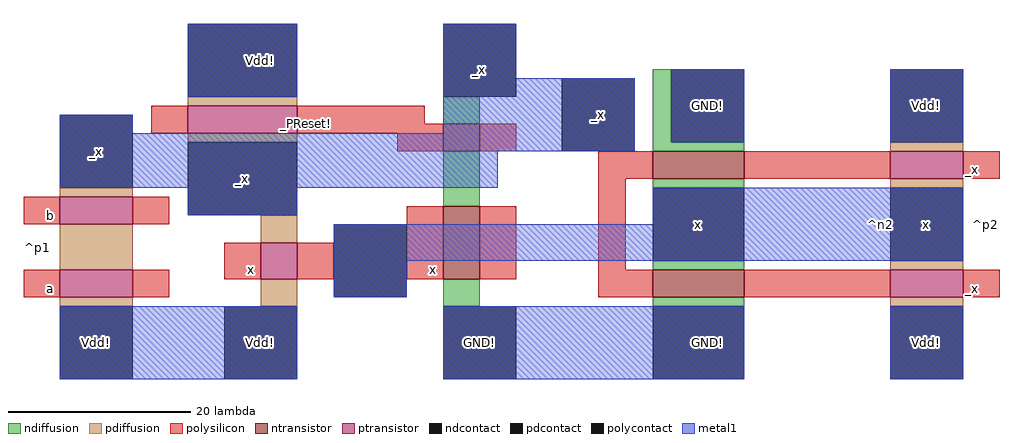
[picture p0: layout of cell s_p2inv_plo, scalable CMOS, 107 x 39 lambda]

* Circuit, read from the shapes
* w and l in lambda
.subckt s_p2inv_plo GND! Vdd! _PReset! _x a b x
M1 n1 x GND! VSUBS nfet w=4 l=8
M2 _x _PReset! n1 VSUBS nfet w=4 l=3
M3 x _x GND! VSUBS nfet w=10 l=3 m=2
M4 n2 a Vdd! NWELL pfet w=8 l=3
M5 _x b n2 NWELL pfet w=8 l=3
M6 Vdd! _PReset! _x NWELL pfet w=12 l=3
M7 _x x Vdd! NWELL pfet w=4 l=4
M8 x _x Vdd! NWELL pfet w=8 l=3 m=2
.ends

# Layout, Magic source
magic
tech scmos
<< ndiffusion >>
rect 108 92 112 95
rect 131 90 133 98
rect 131 89 141 90
rect 108 83 112 89
rect 131 85 141 86
rect 131 76 141 77
rect 108 72 112 75
rect 131 72 141 73
<< pdiffusion >>
rect 80 94 92 95
rect 66 84 74 85
rect 80 90 92 91
rect 157 89 165 90
rect 66 76 74 81
rect 88 79 92 82
rect 66 72 74 73
rect 88 72 92 75
rect 157 85 165 86
rect 157 76 165 77
rect 157 72 165 73
<< ntransistor >>
rect 108 89 112 92
rect 131 86 141 89
rect 108 75 112 83
rect 131 73 141 76
<< ptransistor >>
rect 80 91 92 94
rect 66 81 74 84
rect 157 86 165 89
rect 66 73 74 76
rect 88 75 92 79
rect 157 73 165 76
<< polysilicon >>
rect 76 91 80 94
rect 92 92 106 94
rect 92 91 108 92
rect 62 81 66 84
rect 74 81 78 84
rect 103 89 108 91
rect 112 89 116 92
rect 125 86 131 89
rect 141 86 157 89
rect 165 86 169 89
rect 62 73 66 76
rect 74 73 78 76
rect 84 75 88 79
rect 92 75 96 79
rect 104 75 108 83
rect 112 75 116 83
rect 125 76 128 86
rect 125 73 131 76
rect 141 73 157 76
rect 165 73 169 76
<< ndcontact >>
rect 108 95 116 103
rect 133 90 141 98
rect 131 77 141 85
rect 108 64 116 72
rect 131 64 141 72
<< pdcontact >>
rect 80 95 92 103
rect 66 85 74 93
rect 80 82 92 90
rect 157 90 165 98
rect 157 77 165 85
rect 66 64 74 72
rect 84 64 92 72
rect 157 64 165 72
<< polycontact >>
rect 121 89 129 97
rect 96 73 104 81
<< metal1 >>
rect 80 95 92 103
rect 108 97 116 103
rect 66 91 74 93
rect 108 91 129 97
rect 66 89 129 91
rect 133 90 141 98
rect 157 90 165 98
rect 66 85 114 89
rect 80 82 92 85
rect 131 81 165 85
rect 96 77 165 81
rect 96 73 104 77
rect 66 64 92 72
rect 108 64 141 72
rect 157 64 165 72
<< labels >>
rlabel polysilicon 65 82 65 82 3 b
rlabel polysilicon 65 74 65 74 3 a
rlabel polysilicon 107 76 107 76 1 x
rlabel polysilicon 87 76 87 76 1 x
rlabel metal1 88 68 88 68 1 Vdd!
rlabel metal1 70 68 70 68 1 Vdd!
rlabel metal1 112 68 112 68 1 GND!
rlabel metal1 112 98 112 98 1 _x
rlabel pdcontact 161 68 161 68 1 Vdd!
rlabel pdcontact 161 81 161 81 1 x
rlabel pdcontact 161 94 161 94 5 Vdd!
rlabel polysilicon 166 87 166 87 1 _x
rlabel polysilicon 166 74 166 74 1 _x
rlabel ndcontact 137 94 137 94 5 GND!
rlabel ndcontact 137 68 137 68 1 GND!
rlabel ndcontact 136 81 136 81 1 x
rlabel metal1 70 89 70 89 5 _x
rlabel metal1 125 93 125 93 1 _x
rlabel metal1 88 99 88 99 5 Vdd!
rlabel polysilicon 93 92 93 92 1 _PReset!
rlabel metal1 86 86 86 86 1 _x
rlabel space 61 64 66 93 7 ^p1
rlabel space 165 64 170 98 3 ^p2
rlabel space 141 63 171 99 3 ^n2
<< comment >>
<< labels >>
<< end >>
